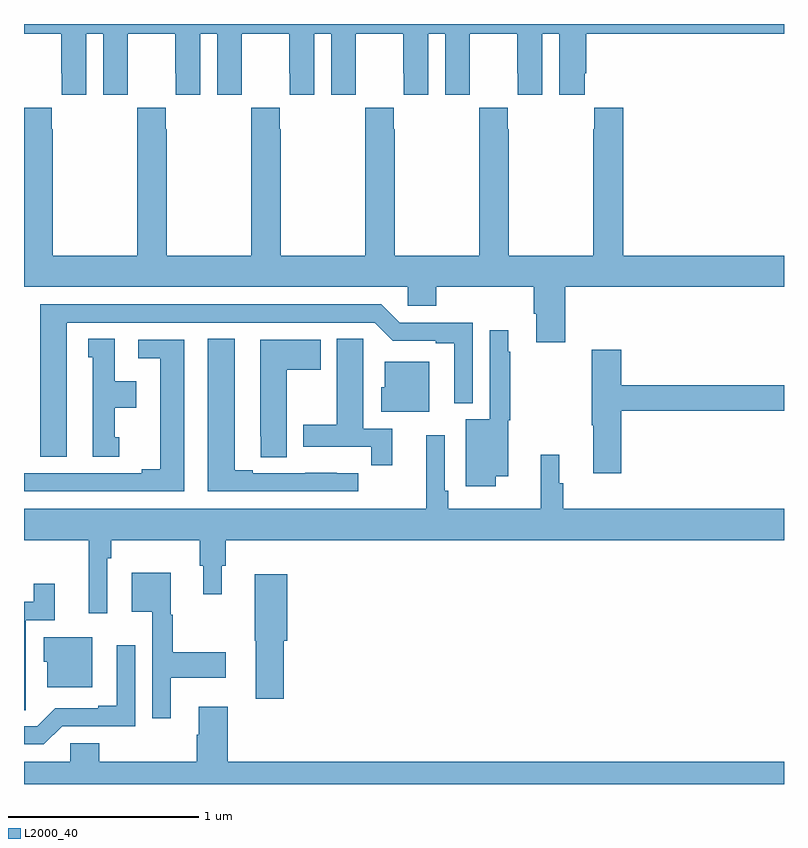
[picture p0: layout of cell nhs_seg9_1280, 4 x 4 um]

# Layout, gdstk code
import gdstk
lib = gdstk.Library(unit=1e-6, precision=1e-09)
def P(c, l, *ps):  # polygons
    for p in ps: c.add(gdstk.Polygon(p, *l))
L2000_40 = (2000, 40)

nhs_seg9_1280 = lib.new_cell('nhs_seg9_1280')
P(nhs_seg9_1280, L2000_40, [(183,1168.448),(183.197,1168.448),(183.197,1168.24),(183.198,1168.24),(183.198,1168.128),(183.328,1168.128),(183.328,1168.448),(183.416,1168.448),(183.416,1168.128),(183.546,1168.128),(183.546,1168.24),(183.547,1168.24),(183.547,1168.448),(183.797,1168.448),(183.797,1168.24),(183.798,1168.24),(183.798,1168.128),(183.928,1168.128),(183.928,1168.448),(184.016,1168.448),(184.016,1168.128),(184.146,1168.128),(184.146,1168.24),(184.147,1168.24),(184.147,1168.448),(184.397,1168.448),(184.397,1168.24),(184.398,1168.24),(184.398,1168.128),(184.528,1168.128),(184.528,1168.448),(184.616,1168.448),(184.616,1168.128),(184.746,1168.128),(184.746,1168.24),(184.747,1168.24),(184.747,1168.448),(184.997,1168.448),(184.997,1168.24),(184.998,1168.24),(184.998,1168.128),(185.128,1168.128),(185.128,1168.448),(185.216,1168.448),(185.216,1168.128),(185.346,1168.128),(185.346,1168.24),(185.347,1168.24),(185.347,1168.448),(185.597,1168.448),(185.597,1168.24),(185.598,1168.24),(185.598,1168.128),(185.728,1168.128),(185.728,1168.448),(185.816,1168.448),(185.816,1168.128),(185.95,1168.128),(185.95,1168.24),(185.96,1168.24),(185.96,1168.448),(187,1168.448),(187,1168.5),(183,1168.5)],
  [(185.849,1167.116),(187,1167.116),(187,1167.28),(186.155,1167.28),(186.155,1168.06),(186.001,1168.06),(186.001,1167.947),(185.995,1167.947),(185.995,1167.28),(185.55,1167.28),(185.55,1167.947),(185.547,1167.947),(185.547,1168.06),(185.397,1168.06),(185.397,1167.947),(185.395,1167.947),(185.395,1167.28),(184.95,1167.28),(184.95,1167.947),(184.947,1167.947),(184.947,1168.06),(184.797,1168.06),(184.797,1167.947),(184.795,1167.947),(184.795,1167.28),(184.35,1167.28),(184.35,1167.947),(184.347,1167.947),(184.347,1168.06),(184.197,1168.06),(184.197,1167.947),(184.195,1167.947),(184.195,1167.28),(183.75,1167.28),(183.75,1167.947),(183.747,1167.947),(183.747,1168.06),(183.597,1168.06),(183.597,1167.947),(183.595,1167.947),(183.595,1167.28),(183.15,1167.28),(183.15,1167.947),(183.147,1167.947),(183.147,1168.06),(183,1168.06),(183,1167.116),(185.019,1167.116),(185.019,1167.018),(185.171,1167.018),(185.171,1167.116),(185.684,1167.116),(185.684,1166.974),(185.696,1166.974),(185.696,1166.826),(185.849,1166.826)],
  [(183.226,1166.928),(184.845,1166.928),(184.941,1166.832),(185.168,1166.832),(185.168,1166.82),(185.264,1166.82),(185.264,1166.504),(185.361,1166.504),(185.361,1166.928),(184.977,1166.928),(184.881,1167.024),(183.086,1167.024),(183.086,1166.223),(183.226,1166.223)],
  [(185.482,1166.12),(185.548,1166.12),(185.548,1166.415),(185.56,1166.415),(185.56,1166.774),(185.548,1166.774),(185.548,1166.887),(185.451,1166.887),(185.451,1166.419),(185.324,1166.419),(185.324,1166.067),(185.482,1166.067)],
  [(183.502,1166.325),(183.478,1166.325),(183.478,1166.48),(183.592,1166.48),(183.592,1166.62),(183.478,1166.62),(183.478,1166.843),(183.338,1166.843),(183.338,1166.745),(183.362,1166.745),(183.362,1166.223),(183.502,1166.223)],
  [(184.759,1166.136),(184.646,1166.136),(184.646,1166.137),(184.48,1166.137),(184.48,1166.136),(184.204,1166.136),(184.204,1166.151),(184.108,1166.151),(184.108,1166.843),(183.968,1166.843),(183.968,1166.04),(184.759,1166.04)],
  [(184.937,1166.37),(184.786,1166.37),(184.786,1166.732),(184.785,1166.732),(184.785,1166.843),(184.646,1166.843),(184.646,1166.391),(184.469,1166.391),(184.469,1166.274),(184.828,1166.274),(184.828,1166.178),(184.937,1166.178)],
  [(184.384,1166.68),(184.561,1166.68),(184.561,1166.839),(184.244,1166.839),(184.244,1166.329),(184.245,1166.329),(184.245,1166.221),(184.384,1166.221)],
  [(183.844,1166.838),(183.6,1166.838),(183.6,1166.742),(183.716,1166.742),(183.716,1166.156),(183.62,1166.156),(183.62,1166.136),(183,1166.136),(183,1166.04),(183.844,1166.04)],
  [(186.143,1166.464),(187,1166.464),(187,1166.6),(186.143,1166.6),(186.143,1166.785),(185.989,1166.785),(185.989,1166.387),(185.996,1166.387),(185.996,1166.136),(186.143,1166.136)],
  [(185.134,1166.722),(184.898,1166.722),(184.898,1166.589),(184.88,1166.589),(184.88,1166.459),(185.134,1166.459)],
  [(183.438,1165.688),(183.458,1165.688),(183.458,1165.784),(183.925,1165.784),(183.925,1165.65),(183.944,1165.65),(183.944,1165.5),(184.042,1165.5),(184.042,1165.65),(184.061,1165.65),(184.061,1165.784),(187,1165.784),(187,1165.948),(185.837,1165.948),(185.837,1166.082),(185.818,1166.082),(185.818,1166.233),(185.719,1166.233),(185.719,1165.948),(185.234,1165.948),(185.234,1166.044),(185.214,1166.044),(185.214,1166.335),(185.117,1166.335),(185.117,1165.948),(183,1165.948),(183,1165.784),(183.341,1165.784),(183.341,1165.398),(183.438,1165.398)],
  [(183.772,1165.058),(184.063,1165.058),(184.063,1165.193),(183.784,1165.193),(183.784,1165.392),(183.772,1165.392),(183.772,1165.612),(183.566,1165.612),(183.566,1165.406),(183.675,1165.406),(183.675,1164.846),(183.772,1164.846)],
  [(184.367,1165.254),(184.385,1165.254),(184.385,1165.603),(184.214,1165.603),(184.214,1165.254),(184.22,1165.254),(184.22,1164.948),(184.367,1164.948)],
  [(183.009,1165),(183.01,1165),(183.01,1165.362),(183.161,1165.362),(183.161,1165.555),(183.052,1165.555),(183.052,1165.458),(183,1165.458),(183,1164.889),(183.009,1164.889)],
  [(183.358,1165.273),(183.104,1165.273),(183.104,1165.143),(183.122,1165.143),(183.122,1165.01),(183.358,1165.01)],
  [(183.201,1164.804),(183.585,1164.804),(183.585,1165.231),(183.488,1165.231),(183.488,1164.913),(183.392,1164.913),(183.392,1164.9),(183.165,1164.9),(183.069,1164.804),(183,1164.804),(183,1164.708),(183.105,1164.708)],
  [(187,1164.616),(184.073,1164.616),(184.073,1164.907),(183.92,1164.907),(183.92,1164.758),(183.908,1164.758),(183.908,1164.616),(183.395,1164.616),(183.395,1164.714),(183.243,1164.714),(183.243,1164.616),(183,1164.616),(183,1164.5),(187,1164.5)])

lib.write_gds('nhs_seg9_1280.gds')
